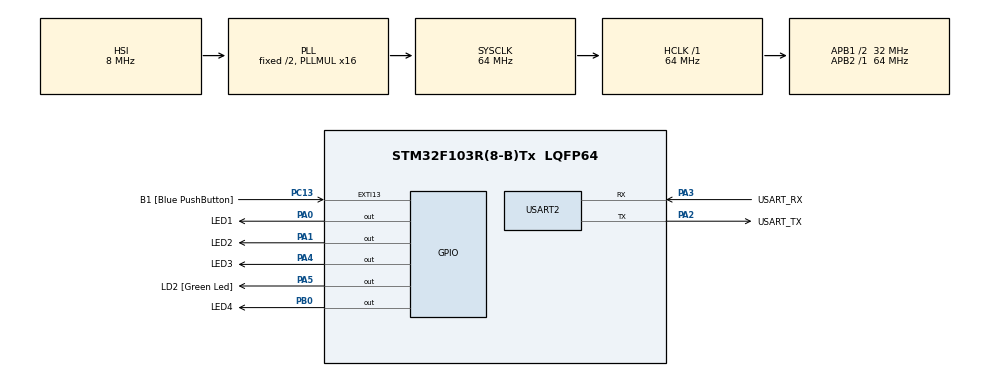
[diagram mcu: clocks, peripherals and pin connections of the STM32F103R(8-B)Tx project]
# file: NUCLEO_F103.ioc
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Mcu.Family=STM32F1
Mcu.Name=STM32F103R(8-B)Tx
Mcu.Package=LQFP64
NVIC.EXTI15_10_IRQn=true\:0\:0\:false\:false\:true\:true\:true
NVIC.PriorityGroup=NVIC_PRIORITYGROUP_4
NVIC.TIM1_UP_IRQn=true\:15\:0\:false\:false\:true\:false\:true
NVIC.TimeBase=TIM1_UP_IRQn
NVIC.TimeBaseIP=TIM1
PA0-WKUP.GPIO_Label=LED1
PA0-WKUP.Signal=GPIO_Output
PA1.GPIO_Label=LED2
PA1.Signal=GPIO_Output
PA13.GPIO_Label=TMS
PA13.Mode=Serial_Wire
PA13.Signal=SYS_JTMS-SWDIO
PA14.GPIO_Label=TCK
PA14.Mode=Serial_Wire
PA14.Signal=SYS_JTCK-SWCLK
PA2.GPIO_Label=USART_TX
PA2.GPIO_Mode=GPIO_MODE_AF_PP
PA2.GPIO_PuPd=GPIO_NOPULL
PA2.GPIO_Speed=GPIO_SPEED_FREQ_LOW
PA2.Mode=Asynchronous
PA2.Signal=USART2_TX
PA3.GPIO_Label=USART_RX
PA3.GPIO_Mode=GPIO_MODE_AF_PP
PA3.GPIO_PuPd=GPIO_NOPULL
PA3.GPIO_Speed=GPIO_SPEED_FREQ_LOW
PA3.Mode=Asynchronous
PA3.Signal=USART2_RX
PA4.GPIO_Label=LED3
PA4.Signal=GPIO_Output
PA5.GPIO_Label=LD2 [Green Led]
PA5.GPIO_ModeDefaultOutputPP=GPIO_MODE_OUTPUT_PP
PA5.GPIO_PuPd=GPIO_NOPULL
PA5.GPIO_Speed=GPIO_SPEED_FREQ_LOW
PA5.Signal=GPIO_Output
PB0.GPIO_Label=LED4
PB0.Signal=GPIO_Output
PB3.GPIO_Label=SWO
PB3.Signal=SYS_JTDO-TRACESWO
PC13-TAMPER-RTC.GPIO_Label=B1 [Blue PushButton]
PC13-TAMPER-RTC.GPIO_PuPd=GPIO_NOPULL
PC13-TAMPER-RTC.Signal=GPXTI13
PC14-OSC32_IN.Mode=LSE-External-Oscillator
PC14-OSC32_IN.Signal=RCC_OSC32_IN
PC15-OSC32_OUT.Mode=LSE-External-Oscillator
PC15-OSC32_OUT.Signal=RCC_OSC32_OUT
PD0-OSC_IN.Mode=HSE-External-Clock-Source
PD0-OSC_IN.Signal=RCC_OSC_IN
PD1-OSC_OUT.Mode=HSE-External-Clock-Source
PD1-OSC_OUT.Signal=RCC_OSC_OUT
ProjectManager.HeapSize=0x200
ProjectManager.StackSize=0x400
ProjectManager.TargetToolchain=STM32CubeIDE
RCC.AHBFreq_Value=64000000
RCC.APB1CLKDivider=RCC_HCLK_DIV2
RCC.APB1Freq_Value=32000000
RCC.APB1TimFreq_Value=64000000
RCC.APB2Freq_Value=64000000
RCC.APB2TimFreq_Value=64000000
RCC.HCLKFreq_Value=64000000
RCC.PLLMUL=RCC_PLL_MUL16
RCC.RTCClockSelection=RCC_RTCCLKSOURCE_LSE
RCC.SYSCLKFreq_VALUE=64000000
RCC.SYSCLKSource=RCC_SYSCLKSOURCE_PLLCLK
RCC.USBFreq_Value=64000000
USART2.VirtualMode=VM_ASYNC
VP_SYS_VS_tim1.Mode=TIM1
board=NUCLEO-F103RB

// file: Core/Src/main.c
/* USER CODE BEGIN Header */
/**
  ******************************************************************************
  * @file           : main.c
  * @brief          : Main program body
  ******************************************************************************
  * @attention
  *
  * Copyright (c) 2025 STMicroelectronics.
  * All rights reserved.
  *
  * This software is licensed under terms that can be found in the LICENSE file
  * in the root directory of this software component.
  * If no LICENSE file comes with this software, it is provided AS-IS.
  *
  ******************************************************************************
  */
/* USER CODE END Header */
#include "main.h"

/* USER CODE BEGIN Includes */
#include "stdio.h"
#include "FreeRTOS.h"
#include "task.h"
/* USER CODE END Includes */

UART_HandleTypeDef huart2;

void SystemClock_Config(void);
static void MX_GPIO_Init(void);
static void MX_USART2_UART_Init(void);
/* USER CODE BEGIN PFP */
static void task1_handler(void* parameters);
static void task2_handler(void* parameters);
static void task3_handler(void* parameters);
/* USER CODE END PFP */

int main(void)
{
  /* USER CODE BEGIN 1 */
	TaskHandle_t task1_handle;
		TaskHandle_t task2_handle;
		TaskHandle_t task3_handle;

		BaseType_t task1;
		BaseType_t task2;
		BaseType_t task3;
  /* USER CODE END 1 */

  /* MCU Configuration--------------------------------------------------------*/

  /* Reset of all peripherals, Initializes the Flash interface and the Systick. */
  HAL_Init();

  /* Configure the system clock */
  SystemClock_Config();

  /* Initialize all configured peripherals */
  MX_GPIO_Init();
  MX_USART2_UART_Init();
  /* USER CODE BEGIN 2 */

  task1 = xTaskCreate(task1_handler, "TASK-1", 100, "Hello WORLD FROM TASK 1", 2, &task1_handle);
  task2 = xTaskCreate(task2_handler, "TASK-2", 100, "Hello WORLD FROM TASK 2", 2, &task2_handle);
  task3 = xTaskCreate(task3_handler, "TASK-3", 100, "Hello WORLD FROM TASK 3", 2, &task3_handle);

  configASSERT(task1 == pdPASS);
  configASSERT(task2 == pdPASS);
  configASSERT(task3 == pdPASS);

  vTaskStartScheduler();
  /* USER CODE END 2 */

  /* Infinite loop */
  while (1)
  {

  }
}

void SystemClock_Config(void)
{
  RCC_OscInitTypeDef RCC_OscInitStruct = {0};
  RCC_ClkInitTypeDef RCC_ClkInitStruct = {0};

  /** Initializes the RCC Oscillators according to the specified parameters
  * in the RCC_OscInitTypeDef structure.
  */
  RCC_OscInitStruct.OscillatorType = RCC_OSCILLATORTYPE_HSI;
  RCC_OscInitStruct.HSIState = RCC_HSI_ON;
  RCC_OscInitStruct.HSICalibrationValue = RCC_HSICALIBRATION_DEFAULT;
  RCC_OscInitStruct.PLL.PLLState = RCC_PLL_ON;
  RCC_OscInitStruct.PLL.PLLSource = RCC_PLLSOURCE_HSI_DIV2;
  RCC_OscInitStruct.PLL.PLLMUL = RCC_PLL_MUL16;
  if (HAL_RCC_OscConfig(&RCC_OscInitStruct) != HAL_OK)
  {
    Error_Handler();
  }
  /** Initializes the CPU, AHB and APB buses clocks
  */
  RCC_ClkInitStruct.ClockType = RCC_CLOCKTYPE_HCLK|RCC_CLOCKTYPE_SYSCLK
                              |RCC_CLOCKTYPE_PCLK1|RCC_CLOCKTYPE_PCLK2;
  RCC_ClkInitStruct.SYSCLKSource = RCC_SYSCLKSOURCE_PLLCLK;
  RCC_ClkInitStruct.AHBCLKDivider = RCC_SYSCLK_DIV1;
  RCC_ClkInitStruct.APB1CLKDivider = RCC_HCLK_DIV2;
  RCC_ClkInitStruct.APB2CLKDivider = RCC_HCLK_DIV1;

  if (HAL_RCC_ClockConfig(&RCC_ClkInitStruct, FLASH_LATENCY_2) != HAL_OK)
  {
    Error_Handler();
  }
}

static void MX_USART2_UART_Init(void)
{

  huart2.Instance = USART2;
  huart2.Init.BaudRate = 115200;
  huart2.Init.WordLength = UART_WORDLENGTH_8B;
  huart2.Init.StopBits = UART_STOPBITS_1;
  huart2.Init.Parity = UART_PARITY_NONE;
  huart2.Init.Mode = UART_MODE_TX_RX;
  huart2.Init.HwFlowCtl = UART_HWCONTROL_NONE;
  huart2.Init.OverSampling = UART_OVERSAMPLING_16;
  if (HAL_UART_Init(&huart2) != HAL_OK)
  {
    Error_Handler();
  }

}

static void MX_GPIO_Init(void)
{
  GPIO_InitTypeDef GPIO_InitStruct = {0};

  /* GPIO Ports Clock Enable */
  __HAL_RCC_GPIOC_CLK_ENABLE();
  __HAL_RCC_GPIOD_CLK_ENABLE();
  __HAL_RCC_GPIOA_CLK_ENABLE();
  __HAL_RCC_GPIOB_CLK_ENABLE();

  /*Configure GPIO pin Output Level */
  HAL_GPIO_WritePin(GPIOA, LED1_Pin|LED2_Pin|LED3_Pin|LD2_Pin, GPIO_PIN_RESET);

  /*Configure GPIO pin Output Level */
  HAL_GPIO_WritePin(LED4_GPIO_Port, LED4_Pin, GPIO_PIN_RESET);

  /*Configure GPIO pin : B1_Pin */
  GPIO_InitStruct.Pin = B1_Pin;
  GPIO_InitStruct.Mode = GPIO_MODE_IT_RISING;
  GPIO_InitStruct.Pull = GPIO_NOPULL;
  HAL_GPIO_Init(B1_GPIO_Port, &GPIO_InitStruct);

  /*Configure GPIO pins : LED1_Pin LED2_Pin LED3_Pin LD2_Pin */
  GPIO_InitStruct.Pin = LED1_Pin|LED2_Pin|LED3_Pin|LD2_Pin;
  GPIO_InitStruct.Mode = GPIO_MODE_OUTPUT_PP;
  GPIO_InitStruct.Pull = GPIO_NOPULL;
  GPIO_InitStruct.Speed = GPIO_SPEED_FREQ_LOW;
  HAL_GPIO_Init(GPIOA, &GPIO_InitStruct);

  /*Configure GPIO pin : LED4_Pin */
  GPIO_InitStruct.Pin = LED4_Pin;
  GPIO_InitStruct.Mode = GPIO_MODE_OUTPUT_PP;
  GPIO_InitStruct.Pull = GPIO_NOPULL;
  GPIO_InitStruct.Speed = GPIO_SPEED_FREQ_LOW;
  HAL_GPIO_Init(LED4_GPIO_Port, &GPIO_InitStruct);

  /* EXTI interrupt init*/
  HAL_NVIC_SetPriority(EXTI15_10_IRQn, 0, 0);
  HAL_NVIC_EnableIRQ(EXTI15_10_IRQn);

}

/* USER CODE BEGIN 4 */
static void task1_handler(void* parameters)
{
	  const char* msg = (const char*)parameters;
	    for(;;)
	    {
//	        HAL_GPIO_TogglePin(LED_RED_GPIO_Port, LED_RED_Pin);
	    	   HAL_GPIO_TogglePin(LED1_GPIO_Port, LED1_Pin);
	        printf("%s\n", msg);
	        vTaskDelay(pdMS_TO_TICKS(100));
//	        taskYIELD();
	    }

}

static void task2_handler(void* parameters)
{
	  const char* msg = (const char*)parameters;
	    for(;;)
	    {
//	        HAL_GPIO_TogglePin(LED_RED_GPIO_Port, LED_RED_Pin);
	    	   HAL_GPIO_TogglePin(LED2_GPIO_Port, LED2_Pin);
	        printf("%s\n", msg);
//	        vTaskDelay(pdMS_TO_TICKS(100));
//	        taskYIELD();
	    }

}

static void task3_handler(void* parameters)
{
	  const char* msg = (const char*)parameters;
	    for(;;)
	    {
//	        HAL_GPIO_TogglePin(LED_RED_GPIO_Port, LED_RED_Pin);
	        printf("%s\n", msg);
	        HAL_GPIO_TogglePin(LED3_GPIO_Port, LED3_Pin);
//	        vTaskDelay(pdMS_TO_TICKS(100));
//	        taskYIELD();
	    }

}
/* USER CODE END 4 */

void HAL_TIM_PeriodElapsedCallback(TIM_HandleTypeDef *htim)
{
  if (htim->Instance == TIM1) {
    HAL_IncTick();
  }
}

void Error_Handler(void)
{
  __disable_irq();
  while (1)
  {
  }
}
